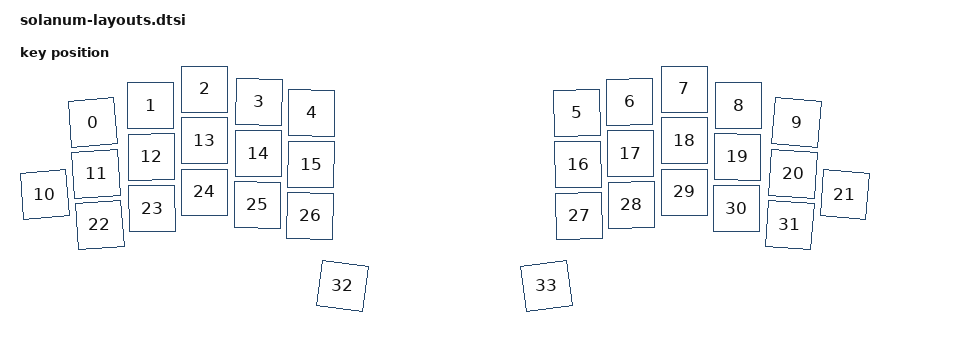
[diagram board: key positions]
#include <physical_layouts.dtsi>

/ {
    physical_layout0: physical_layout_0 {
        compatible = "zmk,physical-layout";
        display-name = "LAYOUT";

        kscan = <&kscan0>;
        transform = <&default_transform>;

        keys  //                     w   h    x    y     rot    rx    ry
            = <&key_physical_attrs 100 100   96   67  (-400)   146   117>
            , <&key_physical_attrs 100 100  212   33  (-100)   262    83>
            , <&key_physical_attrs 100 100  320    0       0     0     0>
            , <&key_physical_attrs 100 100  429   26     100   479    76>
            , <&key_physical_attrs 100 100  534   48     100   584    98>
            , <&key_physical_attrs 100 100 1065   48  (-100)  1115    98>
            , <&key_physical_attrs 100 100 1170   26  (-100)  1220    76>
            , <&key_physical_attrs 100 100 1279    0       0     0     0>
            , <&key_physical_attrs 100 100 1388   33     100  1438    83>
            , <&key_physical_attrs 100 100 1504   67     400  1554   117>
            , <&key_physical_attrs 100 100    0  211  (-400)    50   261>
            , <&key_physical_attrs 100 100  103  170  (-400)   153   220>
            , <&key_physical_attrs 100 100  214  136  (-100)   264   186>
            , <&key_physical_attrs 100 100  320  103       0     0     0>
            , <&key_physical_attrs 100 100  428  129     100   478   179>
            , <&key_physical_attrs 100 100  533  151     100   583   201>
            , <&key_physical_attrs 100 100 1067  151  (-100)  1117   201>
            , <&key_physical_attrs 100 100 1172  129  (-100)  1222   179>
            , <&key_physical_attrs 100 100 1279  103       0     0     0>
            , <&key_physical_attrs 100 100 1386  136     100  1436   186>
            , <&key_physical_attrs 100 100 1497  170     400  1547   220>
            , <&key_physical_attrs 100 100 1600  211     400  1650   261>
            , <&key_physical_attrs 100 100  110  272  (-400)   160   322>
            , <&key_physical_attrs 100 100  215  239  (-100)   265   289>
            , <&key_physical_attrs 100 100  320  206       0     0     0>
            , <&key_physical_attrs 100 100  426  232     100   476   282>
            , <&key_physical_attrs 100 100  531  254     100   581   304>
            , <&key_physical_attrs 100 100 1069  254  (-100)  1119   304>
            , <&key_physical_attrs 100 100 1174  232  (-100)  1224   282>
            , <&key_physical_attrs 100 100 1279  206       0     0     0>
            , <&key_physical_attrs 100 100 1384  239     100  1434   289>
            , <&key_physical_attrs 100 100 1490  272     400  1540   322>
            , <&key_physical_attrs 100 100  596  394     800   646   444>
            , <&key_physical_attrs 100 100 1004  394  (-800)  1054   444>
            ;
    };
};
